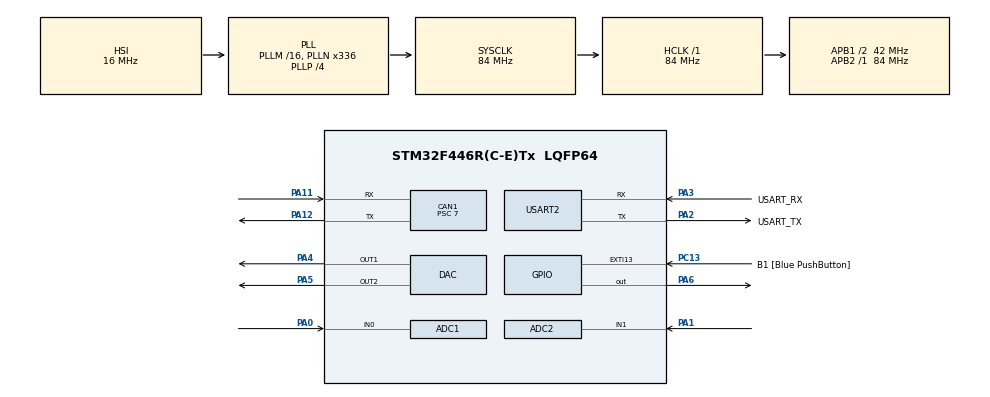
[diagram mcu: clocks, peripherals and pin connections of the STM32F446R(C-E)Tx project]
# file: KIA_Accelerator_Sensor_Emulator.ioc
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ADC1.Channel-2\#ChannelRegularConversion=ADC_CHANNEL_0
ADC1.ContinuousConvMode=ENABLE
ADC1.EOCSelection=ADC_EOC_SEQ_CONV
ADC1.InjNumberOfConversion=0
ADC1.NbrOfConversionFlag=1
ADC1.Rank-2\#ChannelRegularConversion=1
ADC1.SamplingTime-2\#ChannelRegularConversion=ADC_SAMPLETIME_3CYCLES
ADC1.ScanConvMode=DISABLE
ADC1.master=1
ADC2.Channel-2\#ChannelRegularConversion=ADC_CHANNEL_1
ADC2.ContinuousConvMode=ENABLE
ADC2.EOCSelection=ADC_EOC_SEQ_CONV
ADC2.NbrOfConversionFlag=1
ADC2.Rank-2\#ChannelRegularConversion=1
ADC2.SamplingTime-2\#ChannelRegularConversion=ADC_SAMPLETIME_3CYCLES
CAN1.ABOM=ENABLE
CAN1.BS1=CAN_BS1_10TQ
CAN1.CalculateBaudRate=499999
CAN1.CalculateTimeBit=2000
CAN1.CalculateTimeQuantum=166.66666666666669
CAN1.NART=DISABLE
CAN1.Prescaler=7
Mcu.Family=STM32F4
Mcu.Name=STM32F446R(C-E)Tx
Mcu.Package=LQFP64
NVIC.CAN1_RX0_IRQn=true\:0\:0\:false\:false\:true\:true\:true\:true
NVIC.PriorityGroup=NVIC_PRIORITYGROUP_0
PA0-WKUP.Signal=ADCx_IN0
PA1.Signal=ADCx_IN1
PA11.Mode=CAN_Activate
PA11.Signal=CAN1_RX
PA12.Mode=CAN_Activate
PA12.Signal=CAN1_TX
PA13.GPIO_Label=TMS
PA13.Mode=Serial_Wire
PA13.Signal=SYS_JTMS-SWDIO
PA14.GPIO_Label=TCK
PA14.Mode=Serial_Wire
PA14.Signal=SYS_JTCK-SWCLK
PA2.GPIO_Label=USART_TX
PA2.Mode=Asynchronous
PA2.Signal=USART2_TX
PA3.GPIO_Label=USART_RX
PA3.Mode=Asynchronous
PA3.Signal=USART2_RX
PA4.Signal=COMP_DAC1_group
PA5.Signal=COMP_DAC2_group
PA6.GPIO_Speed=GPIO_SPEED_FREQ_VERY_HIGH
PA6.PinState=GPIO_PIN_SET
PA6.Signal=GPIO_Output
PB3.GPIO_Label=SWO
PB3.Signal=SYS_JTDO-SWO
PC13.GPIO_Label=B1 [Blue PushButton]
PC13.GPIO_ModeDefaultEXTI=GPIO_MODE_IT_FALLING
PC13.Signal=GPXTI13
PC14-OSC32_IN.Mode=LSE-External-Oscillator
PC14-OSC32_IN.Signal=RCC_OSC32_IN
PC15-OSC32_OUT.Mode=LSE-External-Oscillator
PC15-OSC32_OUT.Signal=RCC_OSC32_OUT
PH0-OSC_IN.Mode=HSE-External-Oscillator
PH0-OSC_IN.Signal=RCC_OSC_IN
PH1-OSC_OUT.Mode=HSE-External-Oscillator
PH1-OSC_OUT.Signal=RCC_OSC_OUT
ProjectManager.HeapSize=0x200
ProjectManager.StackSize=0x400
ProjectManager.TargetToolchain=STM32CubeIDE
RCC.48MHZClocksFreq_Value=84000000
RCC.AHBFreq_Value=84000000
RCC.APB1CLKDivider=RCC_HCLK_DIV2
RCC.APB1Freq_Value=42000000
RCC.APB1TimFreq_Value=84000000
RCC.APB2Freq_Value=84000000
RCC.APB2TimFreq_Value=84000000
RCC.CortexFreq_Value=84000000
RCC.FLatency-AdvancedSettings=FLASH_LATENCY_2
RCC.HCLKFreq_Value=84000000
RCC.HSE_VALUE=8000000
RCC.HSI_VALUE=16000000
RCC.PLLN=336
RCC.PLLP=RCC_PLLP_DIV4
RCC.SYSCLKFreq_VALUE=84000000
RCC.SYSCLKSource=RCC_SYSCLKSOURCE_PLLCLK
RCC.USBFreq_Value=168000000
RCC.VCOOutputFreq_Value=336000000
SH.ADCx_IN0.0=ADC1_IN0,IN0
SH.ADCx_IN1.0=ADC2_IN1,IN1
SH.COMP_DAC1_group.0=DAC_OUT1,DAC_OUT1
SH.COMP_DAC2_group.0=DAC_OUT2,DAC_OUT2
USART2.VirtualMode=VM_ASYNC
board=NUCLEO-F446RE

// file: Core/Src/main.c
/* USER CODE BEGIN Header */
/**
  ******************************************************************************
  * @file           : main.c
  * @brief          : Main program body
  ******************************************************************************
  * @attention
  *
  * Copyright (c) 2024 STMicroelectronics.
  * All rights reserved.
  *
  * This software is licensed under terms that can be found in the LICENSE file
  * in the root directory of this software component.
  * If no LICENSE file comes with this software, it is provided AS-IS.
  *
  ******************************************************************************
  */
/* USER CODE END Header */
#include "main.h"

/* USER CODE BEGIN Includes */
#include "stm32f4xx_hal.h"
#include <stdio.h>
#include <string.h>

/* USER CODE END Includes */

/* USER CODE BEGIN PM */
#define STM32_ACCEL_POSITION 0x7E0
#define STM32_ACCEL_ESTOP 0x7EE
#define STM32_ACCEL_STATES 0x7EF
/* USER CODE END PM */

ADC_HandleTypeDef hadc1;
ADC_HandleTypeDef hadc2;

CAN_HandleTypeDef hcan1;

DAC_HandleTypeDef hdac;

UART_HandleTypeDef huart2;

/* USER CODE BEGIN PV */
uint32_t adc1Value;
uint32_t adc2Value;
uint32_t dacValue1;
uint32_t dacValue2;
char received_string[32];
uint32_t timestamp;
// For CAN Receive
volatile uint8_t can_rx_flag;
volatile uint8_t emergency_stop_flag;
CAN_RxHeaderTypeDef RxHeader;
uint8_t RxData[8];
/* USER CODE END PV */

void SystemClock_Config(void);
static void MX_GPIO_Init(void);
static void MX_USART2_UART_Init(void);
static void MX_ADC1_Init(void);
static void MX_DAC_Init(void);
static void MX_ADC2_Init(void);
static void MX_CAN1_Init(void);
/* USER CODE BEGIN PFP */
void CAN_Send(uint32_t id, uint8_t *data, uint8_t length);
/* USER CODE END PFP */

int main(void)
{

  /* MCU Configuration--------------------------------------------------------*/

  /* Reset of all peripherals, Initializes the Flash interface and the Systick. */
  HAL_Init();

  /* USER CODE BEGIN Init */
  dacValue1 = 350; // Important initial value
  dacValue2 = 700; // Important initial value

  adc1Value = 0;
  adc2Value = 0;
  timestamp = 0;
  can_rx_flag = 0;
  emergency_stop_flag = 0;
  /* USER CODE END Init */

  /* Configure the system clock */
  SystemClock_Config();

  /* Initialize all configured peripherals */
  MX_GPIO_Init();
  MX_USART2_UART_Init();
  MX_ADC1_Init();
  MX_DAC_Init();
  MX_ADC2_Init();
  MX_CAN1_Init();
  /* USER CODE BEGIN 2 */
  HAL_ADC_Start(&hadc1);
  HAL_ADC_Start(&hadc2);
  HAL_DAC_Start(&hdac, DAC_CHANNEL_1);
  HAL_DAC_Start(&hdac, DAC_CHANNEL_2);
  HAL_DAC_SetValue(&hdac, DAC_CHANNEL_1, DAC_ALIGN_12B_R, dacValue1);
  HAL_DAC_SetValue(&hdac, DAC_CHANNEL_2, DAC_ALIGN_12B_R, dacValue2);
  /* USER CODE END 2 */

  /* Infinite loop */
  while (1)
  {

    /* USER CODE BEGIN 3 */
	  timestamp = HAL_GetTick(); // Get current time in milliseconds
	  // Get ADC value from PA0 PA1
	  if (HAL_ADC_PollForConversion(&hadc1, 100) == HAL_OK){ // check if conversion complete
		  adc1Value = HAL_ADC_GetValue(&hadc1); // read ADC value
	  }
	  if (HAL_ADC_PollForConversion(&hadc2, 100) == HAL_OK){ // check if conversion complete
		  adc2Value = HAL_ADC_GetValue(&hadc2); // read ADC value
	  }
	  // Construct CAN Message
	  uint8_t data[8];
	  data[0] = (adc1Value >> 24) & 0xFF;  // MSB of adc1Value
	  data[1] = (adc1Value >> 16) & 0xFF;
	  data[2] = (adc1Value >> 8) & 0xFF;
	  data[3] = adc1Value & 0xFF;          // LSB of adc1Value
	  data[4] = (adc2Value >> 24) & 0xFF;  // MSB of adc2Value
	  data[5] = (adc2Value >> 16) & 0xFF;
	  data[6] = (adc2Value >> 8) & 0xFF;
	  data[7] = adc2Value & 0xFF;          // LSB of adc2Value
	  // Send a CAN message
	  CAN_Send(STM32_STEERING_ANGLE, data, sizeof(data));
	  if (!emergency_stop_flag){
		  uint8_t data[] = {'R', 'U', 'N', 'N', 'I', 'N', 'G', '\0'};
		  CAN_Send(STM32_STEERING_STATES, data, sizeof(data));
	  }
	  // Receive a CAN message
	  if (can_rx_flag){
		  if (RxHeader.StdId == STM32_STEERING_TORQUE && !emergency_stop_flag){
			  dacValue1 = (RxData[0] << 24) | (RxData[1] << 16) | (RxData[2] << 8) | RxData[3];
			  dacValue2 = (RxData[4] << 24) | (RxData[5] << 16) | (RxData[6] << 8) | RxData[7];
			  printf("Received data: %lu, %lu\n", dacValue1, dacValue2);
			  if (dacValue1 > 4095) dacValue1 = 4095;
			  if (dacValue2 > 4095) dacValue2 = 4095;
			  HAL_DAC_SetValue(&hdac, DAC_CHANNEL_1, DAC_ALIGN_12B_R, dacValue1);
			  HAL_DAC_SetValue(&hdac, DAC_CHANNEL_2, DAC_ALIGN_12B_R, dacValue2);
		  }
		  else if (RxHeader.StdId == STM32_STEERING_ESTOP){
			  if (memcmp(RxData, "STOP", 4) == 0){
				  HAL_GPIO_WritePin(GPIOA, GPIO_PIN_6, GPIO_PIN_RESET);
				  uint8_t data[] = {'E', 'S', 'T', 'O', 'P', '\0'};
				  CAN_Send(STM32_STEERING_STATES, data, sizeof(data));
				  emergency_stop_flag = 1;
				  printf("Emergency Stop\n");
			  }
			  else if (memcmp(RxData, "RESET", 5) == 0){
				  HAL_GPIO_WritePin(GPIOA, GPIO_PIN_6, GPIO_PIN_SET);
				  emergency_stop_flag = 0;
				  printf("Reset emergency stop\n");
			  }
			  else{
				  printf("Received CAN message: ID = 0x%lX, Data = ", RxHeader.StdId);
				  for (int i = 0; i < RxHeader.DLC; i++)
				  {
					  printf("%02X ", RxData[i]);
				  }
				  printf("\n");
			  }

		  }
		  else{
			  printf("Received CAN message: ID = 0x%lX, Data = ", RxHeader.StdId);
			  for (int i = 0; i < RxHeader.DLC; i++)
			  {
				  printf("%02X ", RxData[i]);
			  }
			  printf("\n");
		  }
		  can_rx_flag = 0;
	  }
//	  HAL_Delay(500);
  }
  /* USER CODE END 3 */
}

void SystemClock_Config(void)
{
  RCC_OscInitTypeDef RCC_OscInitStruct = {0};
  RCC_ClkInitTypeDef RCC_ClkInitStruct = {0};

  /** Configure the main internal regulator output voltage
  */
  __HAL_RCC_PWR_CLK_ENABLE();
  __HAL_PWR_VOLTAGESCALING_CONFIG(PWR_REGULATOR_VOLTAGE_SCALE3);

  /** Initializes the RCC Oscillators according to the specified parameters
  * in the RCC_OscInitTypeDef structure.
  */
  RCC_OscInitStruct.OscillatorType = RCC_OSCILLATORTYPE_HSI;
  RCC_OscInitStruct.HSIState = RCC_HSI_ON;
  RCC_OscInitStruct.HSICalibrationValue = RCC_HSICALIBRATION_DEFAULT;
  RCC_OscInitStruct.PLL.PLLState = RCC_PLL_ON;
  RCC_OscInitStruct.PLL.PLLSource = RCC_PLLSOURCE_HSI;
  RCC_OscInitStruct.PLL.PLLM = 16;
  RCC_OscInitStruct.PLL.PLLN = 336;
  RCC_OscInitStruct.PLL.PLLP = RCC_PLLP_DIV4;
  RCC_OscInitStruct.PLL.PLLQ = 2;
  RCC_OscInitStruct.PLL.PLLR = 2;
  if (HAL_RCC_OscConfig(&RCC_OscInitStruct) != HAL_OK)
  {
    Error_Handler();
  }

  /** Initializes the CPU, AHB and APB buses clocks
  */
  RCC_ClkInitStruct.ClockType = RCC_CLOCKTYPE_HCLK|RCC_CLOCKTYPE_SYSCLK
                              |RCC_CLOCKTYPE_PCLK1|RCC_CLOCKTYPE_PCLK2;
  RCC_ClkInitStruct.SYSCLKSource = RCC_SYSCLKSOURCE_PLLCLK;
  RCC_ClkInitStruct.AHBCLKDivider = RCC_SYSCLK_DIV1;
  RCC_ClkInitStruct.APB1CLKDivider = RCC_HCLK_DIV2;
  RCC_ClkInitStruct.APB2CLKDivider = RCC_HCLK_DIV1;

  if (HAL_RCC_ClockConfig(&RCC_ClkInitStruct, FLASH_LATENCY_2) != HAL_OK)
  {
    Error_Handler();
  }
}

static void MX_ADC1_Init(void)
{

  ADC_ChannelConfTypeDef sConfig = {0};

  /** Configure the global features of the ADC (Clock, Resolution, Data Alignment and number of conversion)
  */
  hadc1.Instance = ADC1;
  hadc1.Init.ClockPrescaler = ADC_CLOCK_SYNC_PCLK_DIV4;
  hadc1.Init.Resolution = ADC_RESOLUTION_12B;
  hadc1.Init.ScanConvMode = DISABLE;
  hadc1.Init.ContinuousConvMode = ENABLE;
  hadc1.Init.DiscontinuousConvMode = DISABLE;
  hadc1.Init.ExternalTrigConvEdge = ADC_EXTERNALTRIGCONVEDGE_NONE;
  hadc1.Init.ExternalTrigConv = ADC_SOFTWARE_START;
  hadc1.Init.DataAlign = ADC_DATAALIGN_RIGHT;
  hadc1.Init.NbrOfConversion = 1;
  hadc1.Init.DMAContinuousRequests = DISABLE;
  hadc1.Init.EOCSelection = ADC_EOC_SEQ_CONV;
  if (HAL_ADC_Init(&hadc1) != HAL_OK)
  {
    Error_Handler();
  }

  /** Configure for the selected ADC regular channel its corresponding rank in the sequencer and its sample time.
  */
  sConfig.Channel = ADC_CHANNEL_0;
  sConfig.Rank = 1;
  sConfig.SamplingTime = ADC_SAMPLETIME_3CYCLES;
  if (HAL_ADC_ConfigChannel(&hadc1, &sConfig) != HAL_OK)
  {
    Error_Handler();
  }

}

static void MX_ADC2_Init(void)
{

  ADC_ChannelConfTypeDef sConfig = {0};

  /** Configure the global features of the ADC (Clock, Resolution, Data Alignment and number of conversion)
  */
  hadc2.Instance = ADC2;
  hadc2.Init.ClockPrescaler = ADC_CLOCK_SYNC_PCLK_DIV4;
  hadc2.Init.Resolution = ADC_RESOLUTION_12B;
  hadc2.Init.ScanConvMode = DISABLE;
  hadc2.Init.ContinuousConvMode = ENABLE;
  hadc2.Init.DiscontinuousConvMode = DISABLE;
  hadc2.Init.ExternalTrigConvEdge = ADC_EXTERNALTRIGCONVEDGE_NONE;
  hadc2.Init.ExternalTrigConv = ADC_SOFTWARE_START;
  hadc2.Init.DataAlign = ADC_DATAALIGN_RIGHT;
  hadc2.Init.NbrOfConversion = 1;
  hadc2.Init.DMAContinuousRequests = DISABLE;
  hadc2.Init.EOCSelection = ADC_EOC_SEQ_CONV;
  if (HAL_ADC_Init(&hadc2) != HAL_OK)
  {
    Error_Handler();
  }

  /** Configure for the selected ADC regular channel its corresponding rank in the sequencer and its sample time.
  */
  sConfig.Channel = ADC_CHANNEL_1;
  sConfig.Rank = 1;
  sConfig.SamplingTime = ADC_SAMPLETIME_3CYCLES;
  if (HAL_ADC_ConfigChannel(&hadc2, &sConfig) != HAL_OK)
  {
    Error_Handler();
  }

}

static void MX_CAN1_Init(void)
{

  /* USER CODE BEGIN CAN1_Init 0 */
	CAN_FilterTypeDef sFilterConfig;
  /* USER CODE END CAN1_Init 0 */

  hcan1.Instance = CAN1;
  hcan1.Init.Prescaler = 7;
  hcan1.Init.Mode = CAN_MODE_NORMAL;
  hcan1.Init.SyncJumpWidth = CAN_SJW_1TQ;
  hcan1.Init.TimeSeg1 = CAN_BS1_10TQ;
  hcan1.Init.TimeSeg2 = CAN_BS2_1TQ;
  hcan1.Init.TimeTriggeredMode = DISABLE;
  hcan1.Init.AutoBusOff = ENABLE;
  hcan1.Init.AutoWakeUp = DISABLE;
  hcan1.Init.AutoRetransmission = DISABLE;
  hcan1.Init.ReceiveFifoLocked = DISABLE;
  hcan1.Init.TransmitFifoPriority = DISABLE;
  if (HAL_CAN_Init(&hcan1) != HAL_OK)
  {
    Error_Handler();
  }
  /* USER CODE BEGIN CAN1_Init 2 */
  // Configure CAN filter

	sFilterConfig.FilterBank = 0;
	sFilterConfig.FilterMode = CAN_FILTERMODE_IDMASK;
	sFilterConfig.FilterScale = CAN_FILTERSCALE_32BIT;
	sFilterConfig.FilterIdHigh = 0x7D0 << 5;  // Base ID
	sFilterConfig.FilterIdLow = 0x0000;
	sFilterConfig.FilterMaskIdHigh = 0x7F0 << 5;  // Mask to match 0x7D0 - 0x7DF
	sFilterConfig.FilterMaskIdLow = 0x0000;
	sFilterConfig.FilterFIFOAssignment = CAN_RX_FIFO0;
	sFilterConfig.FilterActivation = ENABLE;

	if (HAL_CAN_ConfigFilter(&hcan1, &sFilterConfig) != HAL_OK)
	{
		printf("CAN filter configuration failed\n");
		Error_Handler();
	}

	// Start CAN
	if (HAL_CAN_Start(&hcan1) != HAL_OK)
	{
		printf("CAN start failed\n");
		Error_Handler();
	}

	// Activate CAN RX notification
	if (HAL_CAN_ActivateNotification(&hcan1, CAN_IT_RX_FIFO0_MSG_PENDING | CAN_IT_ERROR) != HAL_OK)
	{
		printf("CAN notification activation failed\n");
		Error_Handler();
	}
  /* USER CODE END CAN1_Init 2 */

}

static void MX_DAC_Init(void)
{

  DAC_ChannelConfTypeDef sConfig = {0};

  /** DAC Initialization
  */
  hdac.Instance = DAC;
  if (HAL_DAC_Init(&hdac) != HAL_OK)
  {
    Error_Handler();
  }

  /** DAC channel OUT1 config
  */
  sConfig.DAC_Trigger = DAC_TRIGGER_NONE;
  sConfig.DAC_OutputBuffer = DAC_OUTPUTBUFFER_ENABLE;
  if (HAL_DAC_ConfigChannel(&hdac, &sConfig, DAC_CHANNEL_1) != HAL_OK)
  {
    Error_Handler();
  }

  /** DAC channel OUT2 config
  */
  if (HAL_DAC_ConfigChannel(&hdac, &sConfig, DAC_CHANNEL_2) != HAL_OK)
  {
    Error_Handler();
  }

}

static void MX_USART2_UART_Init(void)
{

  huart2.Instance = USART2;
  huart2.Init.BaudRate = 115200;
  huart2.Init.WordLength = UART_WORDLENGTH_8B;
  huart2.Init.StopBits = UART_STOPBITS_1;
  huart2.Init.Parity = UART_PARITY_NONE;
  huart2.Init.Mode = UART_MODE_TX_RX;
  huart2.Init.HwFlowCtl = UART_HWCONTROL_NONE;
  huart2.Init.OverSampling = UART_OVERSAMPLING_16;
  if (HAL_UART_Init(&huart2) != HAL_OK)
  {
    Error_Handler();
  }

}

static void MX_GPIO_Init(void)
{
  GPIO_InitTypeDef GPIO_InitStruct = {0};

  /* GPIO Ports Clock Enable */
  __HAL_RCC_GPIOC_CLK_ENABLE();
  __HAL_RCC_GPIOH_CLK_ENABLE();
  __HAL_RCC_GPIOA_CLK_ENABLE();
  __HAL_RCC_GPIOB_CLK_ENABLE();

  /*Configure GPIO pin Output Level */
  HAL_GPIO_WritePin(GPIOA, GPIO_PIN_6, GPIO_PIN_SET);

  /*Configure GPIO pin : B1_Pin */
  GPIO_InitStruct.Pin = B1_Pin;
  GPIO_InitStruct.Mode = GPIO_MODE_IT_FALLING;
  GPIO_InitStruct.Pull = GPIO_NOPULL;
  HAL_GPIO_Init(B1_GPIO_Port, &GPIO_InitStruct);

  /*Configure GPIO pin : PA6 */
  GPIO_InitStruct.Pin = GPIO_PIN_6;
  GPIO_InitStruct.Mode = GPIO_MODE_OUTPUT_PP;
  GPIO_InitStruct.Pull = GPIO_NOPULL;
  GPIO_InitStruct.Speed = GPIO_SPEED_FREQ_VERY_HIGH;
  HAL_GPIO_Init(GPIOA, &GPIO_InitStruct);

}

/* USER CODE BEGIN 4 */
int _write(int file, char *ptr, int len)
{
	for (int i = 0; i < len; i++)
	{
		ITM_SendChar(*ptr++);
	}
	return len;
//  // Using UART transmit data
//  HAL_UART_Transmit(&huart2, (uint8_t *)ptr, len, 10);
//  return len;
}

void HAL_CAN_ErrorCallback(CAN_HandleTypeDef *hcan)
{
    uint32_t errorcode = HAL_CAN_GetError(hcan);
    printf("CAN Error: 0x%lX\n", errorcode);

    if (errorcode & HAL_CAN_ERROR_TX_ALST0)
    {
        printf("Transmit Arbitration Lost Error\n");
    }
    if (errorcode & HAL_CAN_ERROR_TX_TERR0)
    {
        printf("Transmit Error\n");
    }
    if (errorcode & HAL_CAN_ERROR_RX_FOV0)
    {
        printf("Receive FIFO 0 Overrun Error\n");
    }
    if (errorcode & HAL_CAN_ERROR_RX_FOV1)
    {
        printf("Receive FIFO 1 Overrun Error\n");
    }
    if (errorcode & HAL_CAN_ERROR_BOF)
    {
        printf("Bus-Off Error\n");
        HAL_CAN_Stop(hcan);
        HAL_CAN_Start(hcan);
    }
    // Add additional error handling as needed
}

void CAN_Send(uint32_t id, uint8_t *data, uint8_t length)
{
    CAN_TxHeaderTypeDef TxHeader;
    uint32_t TxMailbox;

    TxHeader.StdId = id;
    TxHeader.RTR = CAN_RTR_DATA;
    TxHeader.IDE = CAN_ID_STD;
    TxHeader.DLC = length;
    TxHeader.TransmitGlobalTime = DISABLE;

    if (HAL_CAN_AddTxMessage(&hcan1, &TxHeader, data, &TxMailbox) != HAL_OK)
    {
        Error_Handler();
    }

    // Wait for the message to be transmitted
    while(HAL_CAN_GetTxMailboxesFreeLevel(&hcan1) != 3) {}
}

void HAL_CAN_RxFifo0MsgPendingCallback(CAN_HandleTypeDef *hcan)
{
    if (HAL_CAN_GetRxMessage(hcan, CAN_RX_FIFO0, &RxHeader, RxData) == HAL_OK)
    {
        can_rx_flag = 1;
    }
}
/* USER CODE END 4 */

void Error_Handler(void)
{
  __disable_irq();
  while (1)
  {
  }
}
